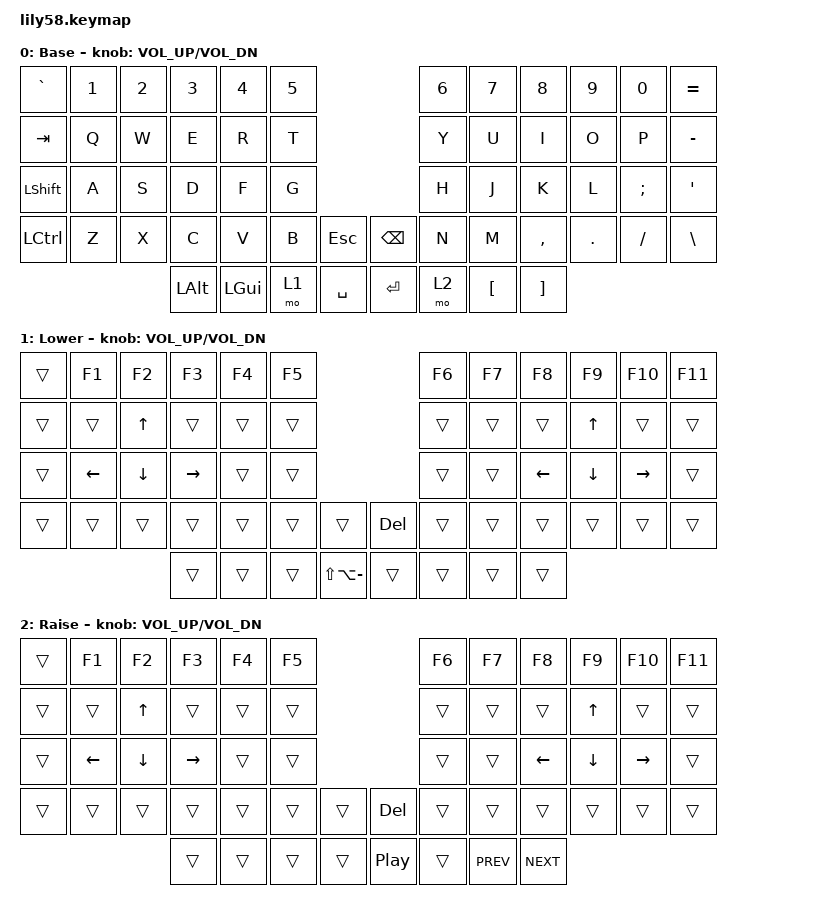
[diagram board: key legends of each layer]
/*
 * Copyright (c) 2020 The ZMK Contributors
 *
 * SPDX-License-Identifier: MIT
 */

#include <behaviors.dtsi>
#include <dt-bindings/zmk/keys.h>
#include <dt-bindings/zmk/bt.h>
#include <dt-bindings/zmk/ext_power.h>

/ {
    keymap {
        compatible = "zmk,keymap";

        default_layer {
// ------------------------------------------------------------------------------------------------------------
// | GRAVE |  1  |  2  |  3   |  4   |  5   |                   |  6   |  7    |  8    |  9   |   0   | EQUAL |
// |  TAB  |  Q  |  W  |  E   |  R   |  T   |                   |  Y   |  U    |  I    |  O   |   P   |   -   |
// | SHIFT |  A  |  S  |  D   |  F   |  G   |                   |  H   |  J    |  K    |  L   |   ;   |   '   |
// |  CTRL |  Z  |  X  |  C   |  V   |  B   |  ESC   |  |  BSPC |  N   |  M    |  ,    |  .   |   /   | BSLH  |
//                     | ALT  | GUI  | LOWER|  SPACE |  | ENTER | RAISE| LBKT  | RBKT  |
            display-name = "Base";
            bindings = <
&kp GRAVE &kp N1 &kp N2 &kp N3   &kp N4   &kp N5                     &kp N6 &kp N7   &kp N8    &kp N9  &kp N0   &kp EQUAL
&kp TAB   &kp Q  &kp W  &kp E    &kp R    &kp T                      &kp Y  &kp U    &kp I     &kp O   &kp P    &kp MINUS
&kp LSHFT &kp A  &kp S  &kp D    &kp F    &kp G                      &kp H  &kp J    &kp K     &kp L   &kp SEMI &kp SQT
&kp LCTL  &kp Z  &kp X  &kp C    &kp V    &kp B  &kp ESC    &kp BSPC &kp N  &kp M    &kp COMMA &kp DOT &kp FSLH &kp BSLH
                        &kp LALT &kp LGUI &mo 1  &kp SPACE  &kp RET  &mo 2  &kp LBKT &kp RBKT
            >;

            sensor-bindings = <&inc_dec_kp C_VOL_UP C_VOL_DN>;
        };

        lower_layer {
// ------------------------------------------------------------------------------------------------------------
// |       |  F1 |  F2 |  F3  |  F4  |  F5  |                   |  F6  |  F7   |  F8   |  F9  |  F10  |  F11  |
// |       |     |  UP |      |      |      |                   |      |       |       |  ^   |       |       |
// |       |  F2 |  F3 |  F4  |  F5  |  F6  |                   |      |       |   <-  |  v   |  ->   |       |
// |       |     |     |      |      |      |        |  |  DEL  |      |       |       |      |       |       |
//                     |      |      |      |        |  |       |      |       |       |
            display-name = "Lower";
            bindings = <
&trans  &kp F1   &kp F2   &kp F3    &kp F4  &kp F5                   &kp F6  &kp F7  &kp F8   &kp F9   &kp F10   &kp F11
&trans  &trans   &kp UP   &trans    &trans  &trans                   &trans  &trans  &trans   &kp UP   &trans    &trans
&trans  &kp LEFT &kp DOWN &kp RIGHT &trans  &trans                   &trans  &trans  &kp LEFT &kp DOWN &kp RIGHT &trans
&trans  &trans   &trans   &trans    &trans  &trans  &trans   &kp DEL &trans  &trans  &trans   &trans   &trans    &trans
                          &trans    &trans  &trans  &kp LS(LA(MINUS))   &trans  &trans  &trans  &trans
            >;

            sensor-bindings = <&inc_dec_kp C_VOL_UP C_VOL_DN>;
        };

        raise_layer {
// ------------------------------------------------------------------------------------------------------------
// |       |  F1 |  F2 |  F3  |  F4  |  F5  |                   |  F6  |  F7   |  F8   |  F9  |  F10  |  F11  |
// |       |     |  UP |      |      |      |                   |      |       |       |  ^   |       |       |
// |       |  F2 |  F3 |  F4  |  F5  |  F6  |                   |      |       |   <-  |  v   |  ->   |       |
// |       |     |     |      |      |      |        |  |  DEL  |      |       |       |      |       |       |
//                     |      |      |      |        |  | PAUSE |      |  PREV |  NEXT |
            display-name = "Raise";
            bindings = <
&trans  &kp F1   &kp F2   &kp F3    &kp F4  &kp F5                   &kp F6  &kp F7  &kp F8   &kp F9   &kp F10   &kp F11
&trans  &trans   &kp UP   &trans    &trans  &trans                   &trans  &trans  &trans   &kp UP   &trans    &trans
&trans  &kp LEFT &kp DOWN &kp RIGHT &trans  &trans                   &trans  &trans  &kp LEFT &kp DOWN &kp RIGHT &trans
&trans  &trans   &trans   &trans    &trans  &trans  &trans  &kp DEL  &trans  &trans  &trans   &trans   &trans    &trans
                          &trans    &trans  &trans  &trans  &kp C_PP &trans  &kp C_PREV  &kp C_NEXT
            >;

            sensor-bindings = <&inc_dec_kp C_VOL_UP C_VOL_DN>;
        };

        extra_1 {
            status = "reserved";
        };

        extra_2 {
            status = "reserved";
        };

        extra_3 {
            status = "reserved";
        };
    };
};
